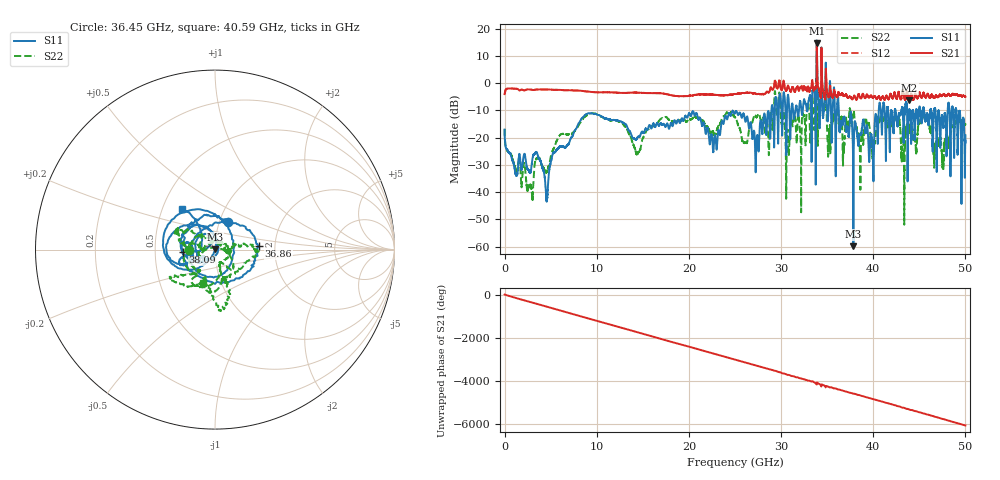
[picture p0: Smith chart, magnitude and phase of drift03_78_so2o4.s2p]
!Created with skrf (http://scikit-rf.org).
# Hz S RI R 50.0
!freq ReS11 ImS11 ReS21 ImS21 ReS12 ImS12 ReS22 ImS22
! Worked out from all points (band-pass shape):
!   10001 points, 300 kHz to 50 GHz, reference 50 ohm
!   highest |S21| = 14.60 dB at 33.88 GHz (marker M1); lowest = -6.3 dB at 43.9 GHz (marker M2)
!   |S21| within 3 dB of the highest: 33.869 GHz to 33.88792 GHz (18.92 MHz wide, 0.0558 % of centre); 34.37723 GHz to 34.38838 GHz (11.15 MHz wide, 0.0324 % of centre)
!   lowest |S11| = -59.8 dB at 37.85 GHz (marker M3), VSWR 1.00, Z = 49.9 + j0.0862 ohm
!   |S11| at or under -10 dB: start of sweep to 28.94 GHz; 36.27 GHz to 40.6 GHz (4.334 GHz wide, 11.3 % of centre); 47.09 GHz to 48.08 GHz (990.7 MHz wide, 2.08 % of centre) (the widest 3 of 54)
!   |S22| runs from -51.9 to 11.6 dB; largest |S21 - S12| = 0.81
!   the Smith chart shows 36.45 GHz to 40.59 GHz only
!   S11 on the Smith chart (normalised r, x): 36.45 GHz: 1.10, +0.35; 36.86 GHz: 1.64, +0.07; 38.09 GHz: 0.70, -0.02; 40.59 GHz: 0.63, +0.31
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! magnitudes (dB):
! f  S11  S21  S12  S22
! 300 kHz  -17.1  -4.0  -4.0  -16.8
! 2.825 GHz  -32.4  -2.4  -2.4  -37.9
! 4.555 GHz  -43.3  -2.3  -2.3  -32.5
! 8.335 GHz  -13.1  -2.8  -2.8  -13.9
! 14.45 GHz  -19.9  -3.5  -3.5  -25.8
! 16.67 GHz  -15.4  -3.7  -3.7  -14.3
! 22.82 GHz  -19.2  -4.3  -4.3  -19.1
! 25 GHz  -11.0  -4.0  -4.0  -12.5
! 26.09 GHz  -13.7  -3.6  -3.6  -21.9
! 27.39 GHz  -19.4  -4.1  -4.1  -12.4
! 29.6 GHz  -10.4  -2.0  -2.1  -11.7
! 30.7 GHz  -5.6  -1.4  -1.4  -17.1
! 33.34 GHz  -14.0  -0.4  -0.4  -7.0
! 33.88 GHz  15.6  14.6  14.2  11.6
! 36.45 GHz  -15.4  -4.4  -4.3  -16.7
! 36.86 GHz  -12.3  -4.7  -4.7  -22.9
! 37.85 GHz  -59.8  -5.4  -5.4  -11.0
! 38.09 GHz  -15.0  -5.6  -5.6  -16.4
! 40.59 GHz  -10.7  -4.9  -4.9  -14.0
! 41.67 GHz  -12.1  -5.9  -5.9  -15.1
! 43.9 GHz  -9.6  -6.3  -6.3  -17.0
! 50 GHz  -19.2  -5.0  -4.9  -15.1
